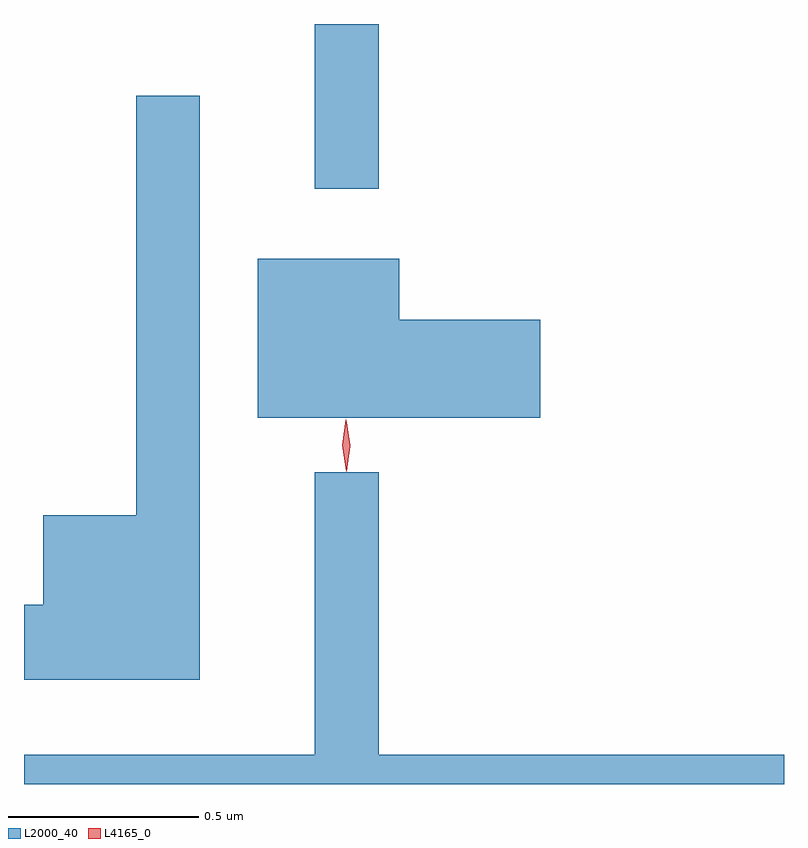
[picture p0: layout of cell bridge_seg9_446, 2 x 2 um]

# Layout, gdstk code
import gdstk
lib = gdstk.Library(unit=1e-6, precision=1e-09)
def R(c, l, rs):  # rectangles x0, y0, x1, y1
    for r in rs: c.add(gdstk.rectangle(r[:2], r[2:], *l))
def P(c, l, *ps):  # polygons
    for p in ps: c.add(gdstk.Polygon(p, *l))
L2000_40 = (2000, 40)
L4165_0 = (4165, 0)

bridge_seg9_446 = lib.new_cell('bridge_seg9_446')
R(bridge_seg9_446, L2000_40, [(412.851,2040.193,413.019,2040.627)])
P(bridge_seg9_446, L2000_40, [(412.549,2040.438),(412.381,2040.438),(412.381,2039.334),(412.136,2039.334),(412.136,2039.099),(412.086,2039.099),(412.086,2038.901),(412.549,2038.901)],
  [(413.444,2039.849),(413.074,2039.849),(413.074,2040.009),(412.701,2040.009),(412.701,2039.591),(413.444,2039.591)],
  [(414.086,2038.704),(413.019,2038.704),(413.019,2039.448),(412.851,2039.448),(412.851,2038.704),(412.086,2038.704),(412.086,2038.627),(414.086,2038.627)])
P(bridge_seg9_446, L4165_0, [(412.934,2039.45),(412.934,2039.45),(412.924,2039.518),(412.933,2039.586),(412.933,2039.586),(412.934,2039.586),(412.944,2039.518),(412.935,2039.45)],
  [(412.935,2039.453),(412.934,2039.454),(412.925,2039.516),(412.934,2039.579),(412.935,2039.58),(412.935,2039.579),(412.945,2039.516),(412.935,2039.454)])

lib.write_gds('bridge_seg9_446.gds')
